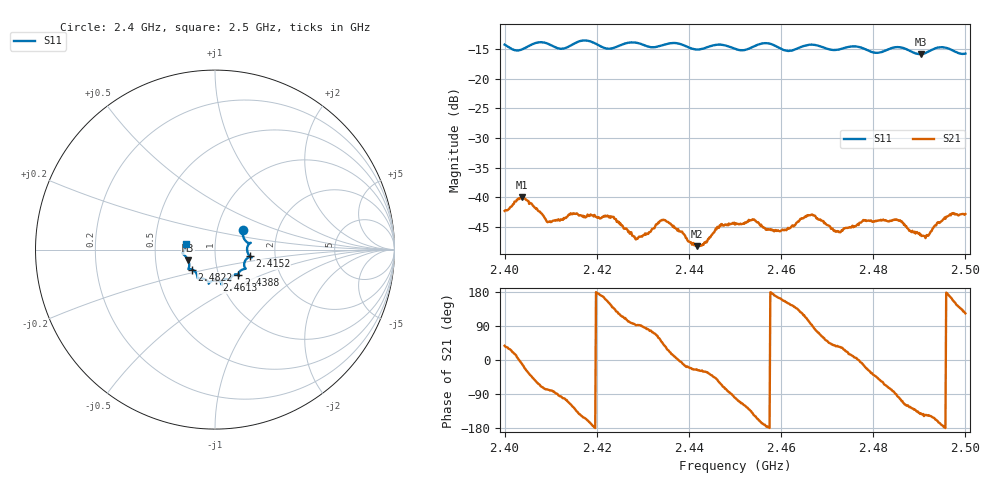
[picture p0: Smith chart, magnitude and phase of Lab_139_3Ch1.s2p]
# Hz S RI R 50
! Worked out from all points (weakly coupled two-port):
!   601 points, 2.4 GHz to 2.5 GHz, reference 50 ohm
!   highest |S21| = -39.99 dB at 2.4037 GHz (marker M1); lowest = -48.2 dB at 2.4417 GHz (marker M2)
!   lowest |S11| = -15.9 dB at 2.4903 GHz (marker M3), VSWR 1.38, Z = 36.8 - j4.47 ohm
!   |S11| at or under -10 dB: start of sweep to end of sweep
!   S12 and S22 are empty: the file has one direction only
!   S11 on the Smith chart (normalised r, x): 2.4 GHz: 1.33, +0.31; 2.4152 GHz: 1.48, -0.11; 2.4388 GHz: 1.24, -0.36; 2.4613 GHz: 0.96, -0.34; 2.4822 GHz: 0.76, -0.17; 2.5 GHz: 0.72, +0.05
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2.4e9  0.1577 0.1118  0.00611 0.00469  0 0  0 0
2.403667e9  0.1677 0.0527  0.00991 -0.00148  0 0  0 0
2.409667e9  0.1916 0.0341  0.00117 -0.00611  0 0  0 0
2.415167e9  0.1942 -0.0373  -0.00449 -0.00577  0 0  0 0
2.416667e9  0.2037 -0.0437  -0.0059 -0.00379  0 0  0 0
2.423667e9  0.1624 -0.081  -0.00498 0.00471  0 0  0 0
2.4285e9  0.1703 -0.1062  -0.000162 0.00442  0 0  0 0
2.433333e9  0.1319 -0.1319  0.00319 0.00525  0 0  0 0
2.438833e9  0.1293 -0.1408  0.00484 -0.000997  0 0  0 0
2.441667e9  0.1025 -0.143  0.00354 -0.00161  0 0  0 0
2.446667e9  0.0841 -0.1742  0.00289 -0.00503  0 0  0 0
2.45e9  0.0687 -0.1645  -0.001 -0.00581  0 0  0 0
2.454e9  0.0346 -0.1828  -0.00529 -0.0038  0 0  0 0
2.456833e9  0.0385 -0.195  -0.00542 -0.000387  0 0  0 0
2.461333e9  0.00801 -0.1711  -0.00474 0.00265  0 0  0 0
2.466667e9  -0.0346 -0.1901  -0.00036 0.00715  0 0  0 0
2.472333e9  -0.0701 -0.1606  0.00419 0.00307  0 0  0 0
2.482167e9  -0.1277 -0.1112  0.00327 -0.00563  0 0  0 0
2.483333e9  -0.1396 -0.109  0.00177 -0.00602  0 0  0 0
2.490333e9  -0.1494 -0.0591  -0.00376 -0.00309  0 0  0 0
2.494833e9  -0.1826 -0.0202  -0.00624 -0.000967  0 0  0 0
2.5e9  -0.1593 0.0328  -0.00396 0.00607  0 0  0 0
